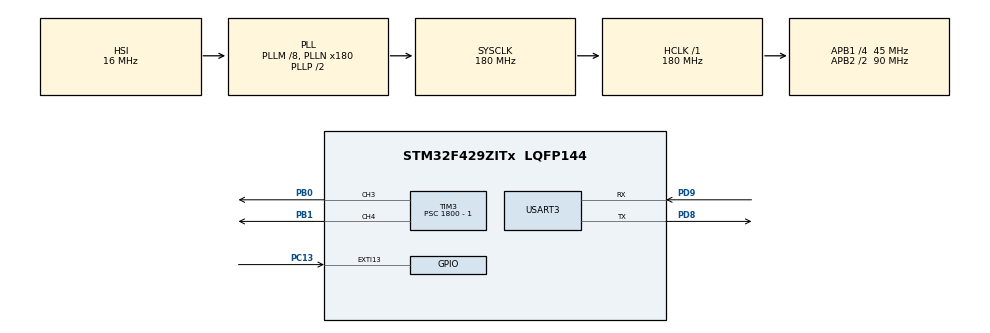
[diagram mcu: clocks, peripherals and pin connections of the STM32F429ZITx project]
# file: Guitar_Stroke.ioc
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Mcu.Family=STM32F4
Mcu.Name=STM32F429ZITx
Mcu.Package=LQFP144
NVIC.PriorityGroup=NVIC_PRIORITYGROUP_4
NVIC.USART3_IRQn=true\:0\:0\:false\:true\:true\:1\:true\:true\:true
PA13.Mode=Serial_Wire
PA13.Signal=SYS_JTMS-SWDIO
PA14.Mode=Serial_Wire
PA14.Signal=SYS_JTCK-SWCLK
PB0.Signal=S_TIM3_CH3
PB1.Signal=S_TIM3_CH4
PC13.Signal=GPXTI13
PC14/OSC32_IN.Mode=LSE-External-Oscillator
PC14/OSC32_IN.Signal=RCC_OSC32_IN
PC15/OSC32_OUT.Mode=LSE-External-Oscillator
PC15/OSC32_OUT.Signal=RCC_OSC32_OUT
PD8.Mode=Asynchronous
PD8.Signal=USART3_TX
PD9.Mode=Asynchronous
PD9.Signal=USART3_RX
ProjectManager.HeapSize=0x200
ProjectManager.StackSize=0x400
ProjectManager.TargetToolchain=STM32CubeIDE
RCC.48MHZClocksFreq_Value=90000000
RCC.AHBFreq_Value=180000000
RCC.APB1CLKDivider=RCC_HCLK_DIV4
RCC.APB1Freq_Value=45000000
RCC.APB1TimFreq_Value=90000000
RCC.APB2CLKDivider=RCC_HCLK_DIV2
RCC.APB2Freq_Value=90000000
RCC.APB2TimFreq_Value=180000000
RCC.CortexFreq_Value=180000000
RCC.HCLKFreq_Value=180000000
RCC.HSE_VALUE=25000000
RCC.HSI_VALUE=16000000
RCC.PLLM=8
RCC.PLLN=180
RCC.RCC_RTC_Clock_Source=RCC_RTCCLKSOURCE_LSE
RCC.RCC_RTC_Clock_SourceVirtual=RCC_RTCCLKSOURCE_LSE
RCC.SYSCLKFreq_VALUE=180000000
RCC.SYSCLKSource=RCC_SYSCLKSOURCE_PLLCLK
RCC.VCOOutputFreq_Value=360000000
SH.S_TIM3_CH3.0=TIM3_CH3,PWM Generation3 CH3
SH.S_TIM3_CH4.0=TIM3_CH4,PWM Generation4 CH4
TIM3.Channel-PWM\ Generation3\ CH3=TIM_CHANNEL_3
TIM3.Channel-PWM\ Generation4\ CH4=TIM_CHANNEL_4
TIM3.CounterMode=TIM_COUNTERMODE_DOWN
TIM3.Period=1000 - 1
TIM3.Prescaler=1800 - 1
TIM3.Pulse-PWM\ Generation3\ CH3=375-1
TIM3.Pulse-PWM\ Generation4\ CH4=375-1
USART3.VirtualMode=VM_ASYNC
VP_RTC_VS_RTC_Activate.Mode=RTC_Enabled
VP_TIM3_VS_ClockSourceINT.Mode=Internal
board=custom

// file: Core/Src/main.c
/* USER CODE BEGIN Header */
/**
 ******************************************************************************
 * @file           : main.c
 * @brief          : Main program body
 ******************************************************************************
 * @attention
 *
 * Copyright (c) 2022 STMicroelectronics.
 * All rights reserved.
 *
 * This software is licensed under terms that can be found in the LICENSE file
 * in the root directory of this software component.
 * If no LICENSE file comes with this software, it is provided AS-IS.
 *
 ******************************************************************************
 */
/* USER CODE END Header */
#include "main.h"
#include "rtc.h"
#include "tim.h"
#include "usart.h"
#include "gpio.h"

/* USER CODE BEGIN Includes */
#include <string.h>
#include <stdlib.h>
/* USER CODE END Includes */

/* USER CODE BEGIN PTD */
typedef enum {

	UP = 1,
	DOWN = 0,
} _STROKE;

/* USER CODE END PTD */

/* USER CODE BEGIN PV */

uint8_t rx;
uint8_t buf[50], buf_index = 0;
volatile uint8_t flag_uart;

volatile uint8_t flag_set_handle;
volatile uint8_t flag_stroke_handle;
volatile uint8_t flag_auto;

int num_set = 105;
int num_stroke = 122;

/* USER CODE END PV */

void SystemClock_Config(void);
static void MX_NVIC_Init(void);
/* USER CODE BEGIN PFP */
void note(char pitch, char octave, char temp, int time, int volume);
uint32_t pitch_change (char pitch_text);
uint32_t octave_change (char octave_text);
uint32_t temp_change (char temp_text);

/* USER CODE END PFP */

/* USER CODE BEGIN 0 */
int __io_putchar(int ch) {
	HAL_UART_Transmit(&huart3, &ch, 1, 100);
	return ch;
}
/* USER CODE END 0 */

int main(void)
{

  /* MCU Configuration--------------------------------------------------------*/

  /* Reset of all peripherals, Initializes the Flash interface and the Systick. */
  HAL_Init();

  /* Configure the system clock */
  SystemClock_Config();

  /* Initialize all configured peripherals */
  MX_GPIO_Init();
  MX_RTC_Init();
  MX_TIM3_Init();
  MX_USART3_UART_Init();

  /* Initialize interrupts */
  MX_NVIC_Init();
  /* USER CODE BEGIN 2 */
	HAL_TIM_PWM_Start(&htim3, TIM_CHANNEL_3);
	HAL_TIM_PWM_Start(&htim3, TIM_CHANNEL_4);
	HAL_UART_Receive_IT(&huart3, &rx, 1);
  /* USER CODE END 2 */

  /* Infinite loop */
  /* USER CODE BEGIN WHILE */

	int flag = 0;

	while (1) {

//		if (flag_stroke_handle == UP) {
//			num_set = 100;
//			num_stroke = 125;
//
//		}
//		else if (flag_stroke_handle == DOWN) {
//			num_set = 100;
//			num_stroke = 100;
//		}

		if (flag_stroke_handle == 1) {
			num_stroke++;
			flag_stroke_handle = 2;
		}
		else if (flag_stroke_handle == 0){
			num_stroke--;
			flag_stroke_handle = 2;
		}
		if (flag_set_handle == 1) {
			num_set++;
			flag_set_handle = 2;
		}
		else if (flag_set_handle == 0){
			num_set--;
			flag_set_handle = 2;
		}
		TIM3->CCR3 = num_set;
		TIM3->CCR4 = num_stroke;

		if (flag_uart == 1) {

			buf[buf_index] = 0;
			//down stroke
			if (rx == '1') {
				num_set = 105;
				TIM3->CCR3 = num_set;
				HAL_Delay(50);
				num_stroke = 125;
				TIM3->CCR4 = num_stroke;
				HAL_Delay(450);

				num_set = 102;
				for(int i = 0; i < 27; i++) {
					num_stroke--;
					TIM3->CCR3 = num_set;
					TIM3->CCR4 = num_stroke;
					HAL_Delay(1);
				}

			}
			//up stroke
			else if (rx == '0') {
				num_set = 105;
				TIM3->CCR3 = num_set;
				HAL_Delay(50);
				num_stroke = 98;
				TIM3->CCR4 = num_stroke;
				HAL_Delay(450);

				num_set = 102;
				for(int i = 0; i < 27; i++) {
					num_stroke++;
					TIM3->CCR3 = num_set;
					TIM3->CCR4 = num_stroke;
					HAL_Delay(1);
				}
			}

			memset(buf, 0, sizeof(buf));
			buf_index = 0;
			flag_uart = 0;
		}
			HAL_Delay(5);

	}
    /* USER CODE END WHILE */

}

void SystemClock_Config(void)
{
  RCC_OscInitTypeDef RCC_OscInitStruct = {0};
  RCC_ClkInitTypeDef RCC_ClkInitStruct = {0};

  /** Configure the main internal regulator output voltage
  */
  __HAL_RCC_PWR_CLK_ENABLE();
  __HAL_PWR_VOLTAGESCALING_CONFIG(PWR_REGULATOR_VOLTAGE_SCALE1);

  /** Initializes the RCC Oscillators according to the specified parameters
  * in the RCC_OscInitTypeDef structure.
  */
  RCC_OscInitStruct.OscillatorType = RCC_OSCILLATORTYPE_HSI|RCC_OSCILLATORTYPE_LSE;
  RCC_OscInitStruct.LSEState = RCC_LSE_ON;
  RCC_OscInitStruct.HSIState = RCC_HSI_ON;
  RCC_OscInitStruct.HSICalibrationValue = RCC_HSICALIBRATION_DEFAULT;
  RCC_OscInitStruct.PLL.PLLState = RCC_PLL_ON;
  RCC_OscInitStruct.PLL.PLLSource = RCC_PLLSOURCE_HSI;
  RCC_OscInitStruct.PLL.PLLM = 8;
  RCC_OscInitStruct.PLL.PLLN = 180;
  RCC_OscInitStruct.PLL.PLLP = RCC_PLLP_DIV2;
  RCC_OscInitStruct.PLL.PLLQ = 4;
  if (HAL_RCC_OscConfig(&RCC_OscInitStruct) != HAL_OK)
  {
    Error_Handler();
  }

  /** Activate the Over-Drive mode
  */
  if (HAL_PWREx_EnableOverDrive() != HAL_OK)
  {
    Error_Handler();
  }

  /** Initializes the CPU, AHB and APB buses clocks
  */
  RCC_ClkInitStruct.ClockType = RCC_CLOCKTYPE_HCLK|RCC_CLOCKTYPE_SYSCLK
                              |RCC_CLOCKTYPE_PCLK1|RCC_CLOCKTYPE_PCLK2;
  RCC_ClkInitStruct.SYSCLKSource = RCC_SYSCLKSOURCE_PLLCLK;
  RCC_ClkInitStruct.AHBCLKDivider = RCC_SYSCLK_DIV1;
  RCC_ClkInitStruct.APB1CLKDivider = RCC_HCLK_DIV4;
  RCC_ClkInitStruct.APB2CLKDivider = RCC_HCLK_DIV2;

  if (HAL_RCC_ClockConfig(&RCC_ClkInitStruct, FLASH_LATENCY_5) != HAL_OK)
  {
    Error_Handler();
  }
}

/**
  * @brief NVIC Configuration.
  * @retval None
  */
static void MX_NVIC_Init(void)
{
  /* USART3_IRQn interrupt configuration */
  HAL_NVIC_SetPriority(USART3_IRQn, 0, 0);
  HAL_NVIC_EnableIRQ(USART3_IRQn);
}

/* USER CODE BEGIN 4 */
void HAL_UART_RxCpltCallback(UART_HandleTypeDef *huart)
{
	if(huart -> Instance == USART3) {
		HAL_UART_Transmit(&huart3, &rx, 1, 100);

		buf[buf_index++] = rx;
		if (rx == '1' || rx == '0') {
			flag_uart = 1;
		}
		if (rx == 'w' || rx == 'W') {
			flag_set_handle = 1;
		}
		if (rx == 's' || rx == 'S') {
			flag_set_handle = 0;
		}
		if (rx == 'a' || rx == 'A') {
			flag_stroke_handle = 1;
		}
		if (rx == 'd' || rx == 'D') {
			flag_stroke_handle = 0;
		}
		HAL_UART_Receive_IT(&huart3, &rx, 1);
	}
}
/* USER CODE END 4 */

void Error_Handler(void)
{
	__disable_irq();
	while (1) {
	}
}
